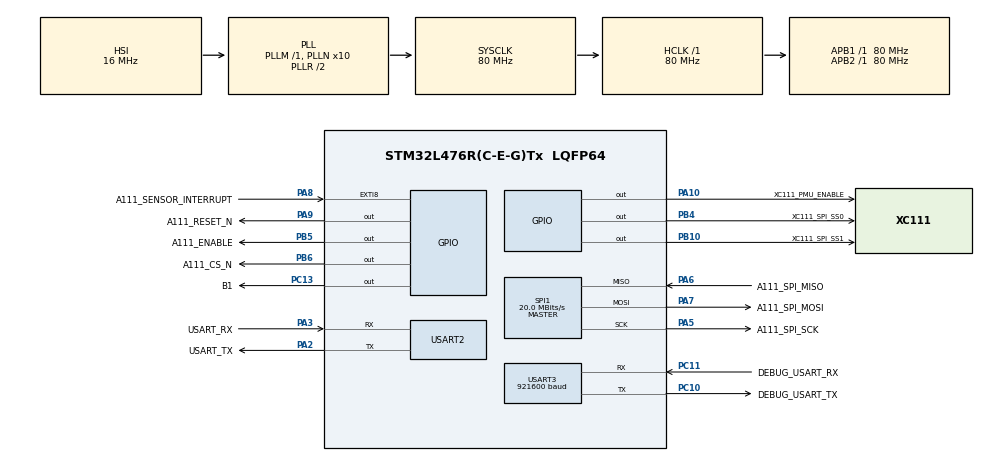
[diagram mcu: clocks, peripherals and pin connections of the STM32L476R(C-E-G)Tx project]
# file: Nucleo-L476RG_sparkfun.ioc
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Dma.Request0=USART2_RX
Dma.Request1=USART2_TX
Dma.Request2=SPI1_RX
Dma.Request3=SPI1_TX
Dma.SPI1_RX.2.Direction=DMA_PERIPH_TO_MEMORY
Dma.SPI1_RX.2.Instance=DMA1_Channel2
Dma.SPI1_RX.2.MemDataAlignment=DMA_MDATAALIGN_BYTE
Dma.SPI1_RX.2.MemInc=DMA_MINC_ENABLE
Dma.SPI1_RX.2.Mode=DMA_NORMAL
Dma.SPI1_RX.2.PeriphDataAlignment=DMA_PDATAALIGN_BYTE
Dma.SPI1_RX.2.PeriphInc=DMA_PINC_DISABLE
Dma.SPI1_RX.2.Priority=DMA_PRIORITY_LOW
Dma.SPI1_TX.3.Direction=DMA_MEMORY_TO_PERIPH
Dma.SPI1_TX.3.Instance=DMA1_Channel3
Dma.SPI1_TX.3.MemDataAlignment=DMA_MDATAALIGN_BYTE
Dma.SPI1_TX.3.MemInc=DMA_MINC_ENABLE
Dma.SPI1_TX.3.Mode=DMA_NORMAL
Dma.SPI1_TX.3.PeriphDataAlignment=DMA_PDATAALIGN_BYTE
Dma.SPI1_TX.3.PeriphInc=DMA_PINC_DISABLE
Dma.SPI1_TX.3.Priority=DMA_PRIORITY_LOW
Dma.USART2_RX.0.Direction=DMA_PERIPH_TO_MEMORY
Dma.USART2_RX.0.Instance=DMA1_Channel6
Dma.USART2_RX.0.MemDataAlignment=DMA_MDATAALIGN_BYTE
Dma.USART2_RX.0.MemInc=DMA_MINC_ENABLE
Dma.USART2_RX.0.Mode=DMA_NORMAL
Dma.USART2_RX.0.PeriphDataAlignment=DMA_PDATAALIGN_BYTE
Dma.USART2_RX.0.PeriphInc=DMA_PINC_DISABLE
Dma.USART2_RX.0.Priority=DMA_PRIORITY_LOW
Dma.USART2_TX.1.Direction=DMA_MEMORY_TO_PERIPH
Dma.USART2_TX.1.Instance=DMA1_Channel7
Dma.USART2_TX.1.MemDataAlignment=DMA_MDATAALIGN_BYTE
Dma.USART2_TX.1.MemInc=DMA_MINC_ENABLE
Dma.USART2_TX.1.Mode=DMA_NORMAL
Dma.USART2_TX.1.PeriphDataAlignment=DMA_PDATAALIGN_BYTE
Dma.USART2_TX.1.PeriphInc=DMA_PINC_DISABLE
Dma.USART2_TX.1.Priority=DMA_PRIORITY_LOW
Mcu.Family=STM32L4
Mcu.Name=STM32L476R(C-E-G)Tx
Mcu.Package=LQFP64
NVIC.DMA1_Channel2_IRQn=true\:0\:0\:false\:false\:true\:false\:true\:true
NVIC.DMA1_Channel3_IRQn=true\:0\:0\:false\:false\:true\:false\:true\:true
NVIC.DMA1_Channel6_IRQn=true\:0\:0\:false\:false\:true\:false\:true\:true
NVIC.DMA1_Channel7_IRQn=true\:0\:0\:false\:false\:true\:false\:true\:true
NVIC.EXTI9_5_IRQn=true\:0\:0\:false\:false\:true\:true\:true\:true
NVIC.PriorityGroup=NVIC_PRIORITYGROUP_4
NVIC.SPI1_IRQn=true\:0\:0\:false\:false\:true\:true\:true\:true
NVIC.USART2_IRQn=true\:0\:0\:false\:false\:true\:true\:true\:true
PA10.GPIO_Label=XC111_PMU_ENABLE
PA10.Signal=GPIO_Output
PA13\ (JTMS-SWDIO).Mode=Serial_Wire
PA13\ (JTMS-SWDIO).Signal=SYS_JTMS-SWDIO
PA14\ (JTCK-SWCLK).Mode=Serial_Wire
PA14\ (JTCK-SWCLK).Signal=SYS_JTCK-SWCLK
PA2.GPIO_Label=USART_TX
PA2.Mode=Asynchronous
PA2.Signal=USART2_TX
PA3.GPIO_Label=USART_RX
PA3.Mode=Asynchronous
PA3.Signal=USART2_RX
PA5.GPIO_Label=A111_SPI_SCK
PA5.Mode=Full_Duplex_Master
PA5.Signal=SPI1_SCK
PA6.GPIO_Label=A111_SPI_MISO
PA6.Mode=Full_Duplex_Master
PA6.Signal=SPI1_MISO
PA7.GPIO_Label=A111_SPI_MOSI
PA7.Mode=Full_Duplex_Master
PA7.Signal=SPI1_MOSI
PA8.GPIO_Label=A111_SENSOR_INTERRUPT
PA8.GPIO_ModeDefaultEXTI=GPIO_MODE_IT_RISING
PA8.Signal=GPXTI8
PA9.GPIO_Label=A111_RESET_N
PA9.Signal=GPIO_Output
PB10.GPIO_Label=XC111_SPI_SS1
PB10.Signal=GPIO_Output
PB4\ (NJTRST).GPIO_Label=XC111_SPI_SS0
PB4\ (NJTRST).Signal=GPIO_Output
PB5.GPIO_Label=A111_ENABLE
PB5.Signal=GPIO_Output
PB6.GPIO_Label=A111_CS_N
PB6.Signal=GPIO_Output
PC10.GPIO_Label=DEBUG_USART_TX
PC10.Mode=Asynchronous
PC10.Signal=USART3_TX
PC11.GPIO_Label=DEBUG_USART_RX
PC11.Mode=Asynchronous
PC11.Signal=USART3_RX
PC13.GPIO_Label=B1
PC13.Signal=GPIO_Output
ProjectManager.HeapSize=0x200
ProjectManager.StackSize=0x2000
ProjectManager.TargetToolchain=STM32CubeIDE
RCC.ADCFreq_Value=64000000
RCC.AHBFreq_Value=80000000
RCC.APB1Freq_Value=80000000
RCC.APB1TimFreq_Value=80000000
RCC.APB2Freq_Value=80000000
RCC.APB2TimFreq_Value=80000000
RCC.CortexFreq_Value=80000000
RCC.HCLKFreq_Value=80000000
RCC.HSE_VALUE=8000000
RCC.HSICalibrationValue=16
RCC.HSI_VALUE=16000000
RCC.LSE_VALUE=32768
RCC.MSI_VALUE=4000000
RCC.PLLN=10
RCC.PLLSourceVirtual=RCC_PLLSOURCE_HSI
RCC.PREFETCH_ENABLE=1
RCC.SYSCLKFreq_VALUE=80000000
RCC.SYSCLKSource=RCC_SYSCLKSOURCE_PLLCLK
RCC.USBFreq_Value=64000000
RCC.VCOOutputFreq_Value=160000000
SPI1.BaudRatePrescaler=SPI_BAUDRATEPRESCALER_4
SPI1.CalculateBaudRate=20.0 MBits/s
SPI1.DataSize=SPI_DATASIZE_8BIT
SPI1.Direction=SPI_DIRECTION_2LINES
SPI1.Mode=SPI_MODE_MASTER
SPI1.VirtualType=VM_MASTER
USART2.VirtualMode-Asynchronous=VM_ASYNC
USART3.BaudRate=921600
USART3.VirtualMode-Asynchronous=VM_ASYNC
board=custom

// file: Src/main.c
/* USER CODE BEGIN Header */
/**
  ******************************************************************************
  * @file           : main.c
  * @brief          : Main program body
  ******************************************************************************
  * @attention
  *
  * <h2><center>&copy; Copyright (c) 2020 STMicroelectronics.
  * All rights reserved.</center></h2>
  *
  * This software component is licensed by ST under BSD 3-Clause license,
  * the "License"; You may not use this file except in compliance with the
  * License. You may obtain a copy of the License at:
  *                        opensource.org/licenses/BSD-3-Clause
  *
  ******************************************************************************
  */
/* USER CODE END Header */
#include "main.h"

/* USER CODE BEGIN Includes */
#include <stdio.h>
#include <stdbool.h>
#include <stdint.h>
#include <stdlib.h>

#include "acc_hal_definitions.h"
#include "acc_hal_integration.h"
#include "acc_rss.h"
#include "acc_service.h"
#include "acc_service_envelope.h"
#include "acc_version.h"
#include "acc_module_server.h"
#include "example_service_envelope.h"
/* USER CODE END Includes */

/* USER CODE BEGIN PM */
static void update_configuration(acc_service_configuration_t envelope_configuration);

static void print_data(uint16_t *data, uint16_t data_length);

/* USER CODE END PM */

SPI_HandleTypeDef hspi1;
DMA_HandleTypeDef hdma_spi1_rx;
DMA_HandleTypeDef hdma_spi1_tx;

UART_HandleTypeDef huart2;
UART_HandleTypeDef huart3;
DMA_HandleTypeDef hdma_usart2_rx;
DMA_HandleTypeDef hdma_usart2_tx;

/* USER CODE BEGIN PV */
uint8_t txbuf[64];

/* USER CODE END PV */

void SystemClock_Config(void);
static void MX_GPIO_Init(void);
static void MX_DMA_Init(void);
static void MX_SPI1_Init(void);
static void MX_USART2_UART_Init(void);
static void MX_USART3_UART_Init(void);

/* USER CODE BEGIN 0 */
void update_configuration(acc_service_configuration_t envelope_configuration)
{
	float start_m  = 0.05f;
	float length_m = 0.2f;

	acc_service_requested_start_set(envelope_configuration, start_m);
	acc_service_requested_length_set(envelope_configuration, length_m);
}

void print_data(uint16_t *data, uint16_t data_length)
{
	for (uint16_t i = 0; i < data_length; i++)
	{

		if (i == data_length - 1)
		{
			sprintf((char*)txbuf, ".");
			HAL_UART_Transmit(&huart2, txbuf, strlen((char*)txbuf), HAL_MAX_DELAY);

			break;
		}

			sprintf((char*)txbuf, "%d,", (unsigned int)(data[i]));
			HAL_UART_Transmit(&huart2, txbuf, strlen((char*)txbuf), HAL_MAX_DELAY);
	}
}

/* USER CODE END 0 */

int main(void)
{

  /* MCU Configuration--------------------------------------------------------*/

  /* Reset of all peripherals, Initializes the Flash interface and the Systick. */
  HAL_Init();

  /* Configure the system clock */
  SystemClock_Config();

  /* Initialize all configured peripherals */
  MX_GPIO_Init();
  MX_DMA_Init();
  MX_SPI1_Init();
  MX_USART2_UART_Init();
  MX_USART3_UART_Init();
  /* USER CODE BEGIN 2 */
  	 /*
  acc_ms_enable_distance();
  acc_ms_enable_envelope();
  acc_ms_enable_iq();
  acc_ms_enable_obstacle();
  acc_ms_enable_power_bin();
  acc_ms_enable_presence();
  acc_ms_enable_sparse();

  ms_main(0xEB00);
*/

  	const acc_hal_t *hal = acc_hal_integration_get_implementation();

  	if (!acc_rss_activate(hal))
  	{
  		sprintf((char*)txbuf, "acc_rss_activate() failed\n");
  		HAL_UART_Transmit(&huart2, txbuf, strlen((char*)txbuf), HAL_MAX_DELAY);
  		return EXIT_FAILURE;
  	}

  	acc_service_configuration_t envelope_configuration = acc_service_envelope_configuration_create();

  	if (envelope_configuration == NULL)
  	{
  		sprintf((char*)txbuf, "acc_service_envelope_configuration_create() failed\n");
  		HAL_UART_Transmit(&huart2, txbuf, strlen((char*)txbuf), HAL_MAX_DELAY);
  		acc_rss_deactivate();
  		return EXIT_FAILURE;
  	}

  	update_configuration(envelope_configuration);

  	acc_service_handle_t handle = acc_service_create(envelope_configuration);

  	if (handle == NULL)
  	{
  		sprintf((char*)txbuf, "acc_service_create() failed\n");
  		HAL_UART_Transmit(&huart2, txbuf, strlen((char*)txbuf), HAL_MAX_DELAY);
  		acc_service_envelope_configuration_destroy(&envelope_configuration);
  		acc_rss_deactivate();
  		return EXIT_FAILURE;
  	}

  	acc_service_envelope_configuration_destroy(&envelope_configuration);

  	acc_service_envelope_metadata_t envelope_metadata = { 0 };
  	acc_service_envelope_get_metadata(handle, &envelope_metadata);

  	printf("Start: %d mm\n", (int)(envelope_metadata.start_m * 1000.0f));
  	printf("Length: %u mm\n", (unsigned int)(envelope_metadata.length_m * 1000.0f));
  	printf("Data length: %u\n", (unsigned int)(envelope_metadata.data_length));

  	if (!acc_service_activate(handle))
  	{
  		sprintf((char*)txbuf, "acc_service_activate() failed\n");
  		HAL_UART_Transmit(&huart2, txbuf, strlen((char*)txbuf), HAL_MAX_DELAY);
  		acc_service_destroy(&handle);
  		acc_rss_deactivate();
  		return EXIT_FAILURE;
  	}

  	bool                               success    = true;
  	uint16_t                           data[envelope_metadata.data_length];
  	acc_service_envelope_result_info_t result_info;
  /* USER CODE END 2 */

  /* Infinite loop */
  /* USER CODE BEGIN WHILE */
  while (1)
  {

	success = acc_service_envelope_get_next(handle, data, envelope_metadata.data_length, &result_info);

	if (!success)
	{
		printf("acc_service_envelope_get_next() failed\n");
		break;
	}

	print_data(data, envelope_metadata.data_length);

    /* USER CODE END WHILE */

    /* USER CODE BEGIN 3 */
  }
	bool deactivated = acc_service_deactivate(handle);

	acc_service_destroy(&handle);

	acc_rss_deactivate();

	if (deactivated && success)
	{
		printf("Application finished OK\n");
		return EXIT_SUCCESS;
	}
  /* USER CODE END 3 */
}

void SystemClock_Config(void)
{
  RCC_OscInitTypeDef RCC_OscInitStruct = {0};
  RCC_ClkInitTypeDef RCC_ClkInitStruct = {0};

  /** Configure the main internal regulator output voltage
  */
  if (HAL_PWREx_ControlVoltageScaling(PWR_REGULATOR_VOLTAGE_SCALE1) != HAL_OK)
  {
    Error_Handler();
  }
  /** Initializes the RCC Oscillators according to the specified parameters
  * in the RCC_OscInitTypeDef structure.
  */
  RCC_OscInitStruct.OscillatorType = RCC_OSCILLATORTYPE_HSI;
  RCC_OscInitStruct.HSIState = RCC_HSI_ON;
  RCC_OscInitStruct.HSICalibrationValue = RCC_HSICALIBRATION_DEFAULT;
  RCC_OscInitStruct.PLL.PLLState = RCC_PLL_ON;
  RCC_OscInitStruct.PLL.PLLSource = RCC_PLLSOURCE_HSI;
  RCC_OscInitStruct.PLL.PLLM = 1;
  RCC_OscInitStruct.PLL.PLLN = 10;
  RCC_OscInitStruct.PLL.PLLP = RCC_PLLP_DIV7;
  RCC_OscInitStruct.PLL.PLLQ = RCC_PLLQ_DIV2;
  RCC_OscInitStruct.PLL.PLLR = RCC_PLLR_DIV2;
  if (HAL_RCC_OscConfig(&RCC_OscInitStruct) != HAL_OK)
  {
    Error_Handler();
  }
  /** Initializes the CPU, AHB and APB buses clocks
  */
  RCC_ClkInitStruct.ClockType = RCC_CLOCKTYPE_HCLK|RCC_CLOCKTYPE_SYSCLK
                              |RCC_CLOCKTYPE_PCLK1|RCC_CLOCKTYPE_PCLK2;
  RCC_ClkInitStruct.SYSCLKSource = RCC_SYSCLKSOURCE_PLLCLK;
  RCC_ClkInitStruct.AHBCLKDivider = RCC_SYSCLK_DIV1;
  RCC_ClkInitStruct.APB1CLKDivider = RCC_HCLK_DIV1;
  RCC_ClkInitStruct.APB2CLKDivider = RCC_HCLK_DIV1;

  if (HAL_RCC_ClockConfig(&RCC_ClkInitStruct, FLASH_LATENCY_4) != HAL_OK)
  {
    Error_Handler();
  }
}

static void MX_SPI1_Init(void)
{

  /* SPI1 parameter configuration*/
  hspi1.Instance = SPI1;
  hspi1.Init.Mode = SPI_MODE_MASTER;
  hspi1.Init.Direction = SPI_DIRECTION_2LINES;
  hspi1.Init.DataSize = SPI_DATASIZE_8BIT;
  hspi1.Init.CLKPolarity = SPI_POLARITY_LOW;
  hspi1.Init.CLKPhase = SPI_PHASE_1EDGE;
  hspi1.Init.NSS = SPI_NSS_SOFT;
  hspi1.Init.BaudRatePrescaler = SPI_BAUDRATEPRESCALER_4;
  hspi1.Init.FirstBit = SPI_FIRSTBIT_MSB;
  hspi1.Init.TIMode = SPI_TIMODE_DISABLE;
  hspi1.Init.CRCCalculation = SPI_CRCCALCULATION_DISABLE;
  hspi1.Init.CRCPolynomial = 7;
  hspi1.Init.CRCLength = SPI_CRC_LENGTH_DATASIZE;
  hspi1.Init.NSSPMode = SPI_NSS_PULSE_ENABLE;
  if (HAL_SPI_Init(&hspi1) != HAL_OK)
  {
    Error_Handler();
  }

}

static void MX_USART2_UART_Init(void)
{

  huart2.Instance = USART2;
  huart2.Init.BaudRate = 2000000;
  huart2.Init.WordLength = UART_WORDLENGTH_8B;
  huart2.Init.StopBits = UART_STOPBITS_1;
  huart2.Init.Parity = UART_PARITY_NONE;
  huart2.Init.Mode = UART_MODE_TX_RX;
  huart2.Init.HwFlowCtl = UART_HWCONTROL_NONE;
  huart2.Init.OverSampling = UART_OVERSAMPLING_16;
  huart2.Init.OneBitSampling = UART_ONE_BIT_SAMPLE_DISABLE;
  huart2.AdvancedInit.AdvFeatureInit = UART_ADVFEATURE_NO_INIT;
  if (HAL_UART_Init(&huart2) != HAL_OK)
  {
    Error_Handler();
  }
  /* USER CODE BEGIN USART2_Init 2 */

  /**
   * Set receiver timeout to 100 bits.
   * Receiver timeout is used to be able to receive packages of
   * different length with the UART DMA RX function.
   */
  HAL_UART_ReceiverTimeout_Config(&huart2, 100);

  /* USER CODE END USART2_Init 2 */

}

static void MX_USART3_UART_Init(void)
{

  huart3.Instance = USART3;
  huart3.Init.BaudRate = 921600;
  huart3.Init.WordLength = UART_WORDLENGTH_8B;
  huart3.Init.StopBits = UART_STOPBITS_1;
  huart3.Init.Parity = UART_PARITY_NONE;
  huart3.Init.Mode = UART_MODE_TX_RX;
  huart3.Init.HwFlowCtl = UART_HWCONTROL_NONE;
  huart3.Init.OverSampling = UART_OVERSAMPLING_16;
  huart3.Init.OneBitSampling = UART_ONE_BIT_SAMPLE_DISABLE;
  huart3.AdvancedInit.AdvFeatureInit = UART_ADVFEATURE_NO_INIT;
  if (HAL_UART_Init(&huart3) != HAL_OK)
  {
    Error_Handler();
  }

}

static void MX_DMA_Init(void)
{

  /* DMA controller clock enable */
  __HAL_RCC_DMA1_CLK_ENABLE();

  /* DMA interrupt init */
  /* DMA1_Channel2_IRQn interrupt configuration */
  HAL_NVIC_SetPriority(DMA1_Channel2_IRQn, 0, 0);
  HAL_NVIC_EnableIRQ(DMA1_Channel2_IRQn);
  /* DMA1_Channel3_IRQn interrupt configuration */
  HAL_NVIC_SetPriority(DMA1_Channel3_IRQn, 0, 0);
  HAL_NVIC_EnableIRQ(DMA1_Channel3_IRQn);
  /* DMA1_Channel6_IRQn interrupt configuration */
  HAL_NVIC_SetPriority(DMA1_Channel6_IRQn, 0, 0);
  HAL_NVIC_EnableIRQ(DMA1_Channel6_IRQn);
  /* DMA1_Channel7_IRQn interrupt configuration */
  HAL_NVIC_SetPriority(DMA1_Channel7_IRQn, 0, 0);
  HAL_NVIC_EnableIRQ(DMA1_Channel7_IRQn);

}

static void MX_GPIO_Init(void)
{
  GPIO_InitTypeDef GPIO_InitStruct = {0};

  /* GPIO Ports Clock Enable */
  __HAL_RCC_GPIOC_CLK_ENABLE();
  __HAL_RCC_GPIOA_CLK_ENABLE();
  __HAL_RCC_GPIOB_CLK_ENABLE();

  /*Configure GPIO pin Output Level */
  HAL_GPIO_WritePin(B1_GPIO_Port, B1_Pin, GPIO_PIN_RESET);

  /*Configure GPIO pin Output Level */
  HAL_GPIO_WritePin(GPIOB, XC111_SPI_SS1_Pin|XC111_SPI_SS0_Pin|A111_ENABLE_Pin|A111_CS_N_Pin, GPIO_PIN_RESET);

  /*Configure GPIO pin Output Level */
  HAL_GPIO_WritePin(GPIOA, A111_RESET_N_Pin|XC111_PMU_ENABLE_Pin, GPIO_PIN_RESET);

  /*Configure GPIO pin : B1_Pin */
  GPIO_InitStruct.Pin = B1_Pin;
  GPIO_InitStruct.Mode = GPIO_MODE_OUTPUT_PP;
  GPIO_InitStruct.Pull = GPIO_NOPULL;
  GPIO_InitStruct.Speed = GPIO_SPEED_FREQ_LOW;
  HAL_GPIO_Init(B1_GPIO_Port, &GPIO_InitStruct);

  /*Configure GPIO pins : XC111_SPI_SS1_Pin XC111_SPI_SS0_Pin A111_ENABLE_Pin A111_CS_N_Pin */
  GPIO_InitStruct.Pin = XC111_SPI_SS1_Pin|XC111_SPI_SS0_Pin|A111_ENABLE_Pin|A111_CS_N_Pin;
  GPIO_InitStruct.Mode = GPIO_MODE_OUTPUT_PP;
  GPIO_InitStruct.Pull = GPIO_NOPULL;
  GPIO_InitStruct.Speed = GPIO_SPEED_FREQ_LOW;
  HAL_GPIO_Init(GPIOB, &GPIO_InitStruct);

  /*Configure GPIO pin : A111_SENSOR_INTERRUPT_Pin */
  GPIO_InitStruct.Pin = A111_SENSOR_INTERRUPT_Pin;
  GPIO_InitStruct.Mode = GPIO_MODE_IT_RISING;
  GPIO_InitStruct.Pull = GPIO_NOPULL;
  HAL_GPIO_Init(A111_SENSOR_INTERRUPT_GPIO_Port, &GPIO_InitStruct);

  /*Configure GPIO pins : A111_RESET_N_Pin XC111_PMU_ENABLE_Pin */
  GPIO_InitStruct.Pin = A111_RESET_N_Pin|XC111_PMU_ENABLE_Pin;
  GPIO_InitStruct.Mode = GPIO_MODE_OUTPUT_PP;
  GPIO_InitStruct.Pull = GPIO_NOPULL;
  GPIO_InitStruct.Speed = GPIO_SPEED_FREQ_LOW;
  HAL_GPIO_Init(GPIOA, &GPIO_InitStruct);

  /* EXTI interrupt init*/
  HAL_NVIC_SetPriority(EXTI9_5_IRQn, 0, 0);
  HAL_NVIC_EnableIRQ(EXTI9_5_IRQn);

}

void Error_Handler(void)
{
}

/************************ (C) COPYRIGHT STMicroelectronics *****END OF FILE****/
